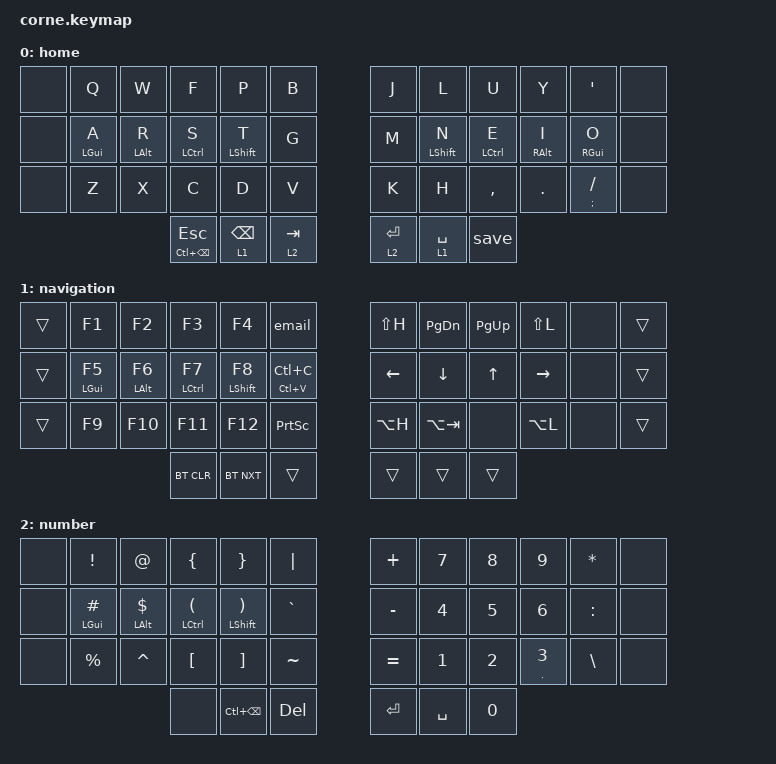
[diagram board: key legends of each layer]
/*
 * Copyright (c) 2020 The ZMK Contributors
 *
 * SPDX-License-Identifier: MIT
 */

#include <behaviors.dtsi>
#include <dt-bindings/zmk/bt.h>
#include <dt-bindings/zmk/keys.h>

/ {
    macros {
        email: email {
            compatible = "zmk,behavior-macro";
            #binding-cells = <0>;
            bindings = <&email>;
            label = "EMAIL";
        };

        save: save {
            compatible = "zmk,behavior-macro";
            #binding-cells = <0>;
            bindings = <&save>;
            label = "SAVE";
        };
    };

    behaviors {
        hm: hm {
            compatible = "zmk,behavior-hold-tap";
            label = "HM";
            #binding-cells = <2>;
            flavor = "balanced";
            tapping-term-ms = <280>;
            bindings = <&kp>, <&kp>;
        };

        shifthr: shifthr {
            compatible = "zmk,behavior-hold-tap";
            label = "SHIFTHR";
            bindings = <&kp>, <&kp>;

            #binding-cells = <2>;
            tapping-term-ms = <280>;
            flavor = "balanced";
        };

        weak: weak {
            compatible = "zmk,behavior-hold-tap";
            label = "WEAK";
            bindings = <&kp>, <&kp>;

            #binding-cells = <2>;
            flavor = "balanced";
            tapping-term-ms = <200>;
            quick-tap-ms = <150>;
        };
    };

    keymap {
        compatible = "zmk,keymap";

        home {
            // -----------------------------------------------------------------------------------------
            // |  TAB |  Q  |  W  |  E  |  R  |  T  |   |  Y  |  U   |  I  |  O  |  P  | BKSP |
            // | CTRL |  A  |  S  |  D  |  F  |  G  |   |  H  |  J   |  K  |  L  |  ;  |  '   |
            // | SHFT |  Z  |  X  |  C  |  V  |  B  |   |  N  |  M   |  ,  |  .  |  /  | ESC  |
            //                    | GUI | LWR | SPC |   | ENT | RSE  | ALT |

            bindings = <
&none  &kp Q         &kp W         &kp F             &kp P              &kp B        &kp J      &kp L              &kp U             &kp Y         &kp SQT             &none
&none  &weak LGUI A  &weak LALT R  &shifthr LCTRL S  &shifthr LSHIFT T  &kp G        &kp M      &shifthr LSHIFT N  &shifthr LCTRL E  &weak RALT I  &weak RGUI O        &none
&none  &kp Z         &kp X         &kp C             &kp D              &kp V        &kp K      &kp H              &kp COMMA         &kp DOT       &hm SEMICOLON FSLH  &none
                                   &hm LC(BSPC) ESC  &lt 1 BSPC         &lt 2 TAB    &lt 2 RET  &lt 1 SPACE        &save
            >;
        };

        navigation {
            // -----------------------------------------------------------------------------------------
            // |  TAB |  1  |  2  |  3  |  4  |  5  |   |  6  |  7  |  8  |  9  |  0  | BKSP |
            // | BTCLR| BT1 | BT2 | BT3 | BT4 | BT5 |   | LFT | DWN |  UP | RGT |     |      |
            // | SHFT |     |     |     |     |     |   |     |     |     |     |     |      |
            //                    | GUI |     | SPC |   | ENT |     | ALT |

            bindings = <
&trans  &kp F1       &kp F2       &kp F3        &kp F4         &email             &kp LS(H)  &kp PG_DN    &kp PG_UP  &kp LS(L)  &none  &trans
&trans  &hm LGUI F5  &hm LALT F6  &hm LCTRL F7  &hm LSHIFT F8  &hm LC(V) LC(C)    &kp LEFT   &kp DOWN     &kp UP     &kp RIGHT  &none  &trans
&trans  &kp F9       &kp F10      &kp F11       &kp F12        &kp PSCRN          &kp LA(H)  &kp LA(TAB)  &none      &kp LA(L)  &none  &trans
                                  &bt BT_CLR    &bt BT_NXT     &trans             &trans     &trans       &trans
            >;
        };

        number {
            // -----------------------------------------------------------------------------------------
            // |  TAB |  !  |  @  |  #  |  $  |  %  |   |  ^  |  &  |  *  |  (  |  )  | BKSP |
            // | CTRL |     |     |     |     |     |   |  -  |  =  |  [  |  ]  |  \  |  `   |
            // | SHFT |     |     |     |     |     |   |  _  |  +  |  {  |  }  | "|" |  ~   |
            //                    | GUI |     | SPC |   | ENT |     | ALT |

            bindings = <
&none  &kp EXCL       &kp AT         &kp LBRC        &kp RBRC         &kp PIPE     &kp PLUS   &kp N7     &kp N8  &kp N9              &kp ASTRK  &none
&none  &hm LGUI HASH  &hm LALT DLLR  &hm LCTRL LPAR  &hm LSHIFT RPAR  &kp GRAVE    &kp MINUS  &kp N4     &kp N5  &kp N6              &kp COLON  &none
&none  &kp PRCNT      &kp CARET      &kp LBKT        &kp RBKT         &kp TILDE    &kp EQUAL  &kp N1     &kp N2  &shifthr PERIOD N3  &kp BSLH   &none
                                     &none           &kp LC(BSPC)     &kp DEL      &kp RET    &kp SPACE  &kp N0
            >;
        };
    };
};
